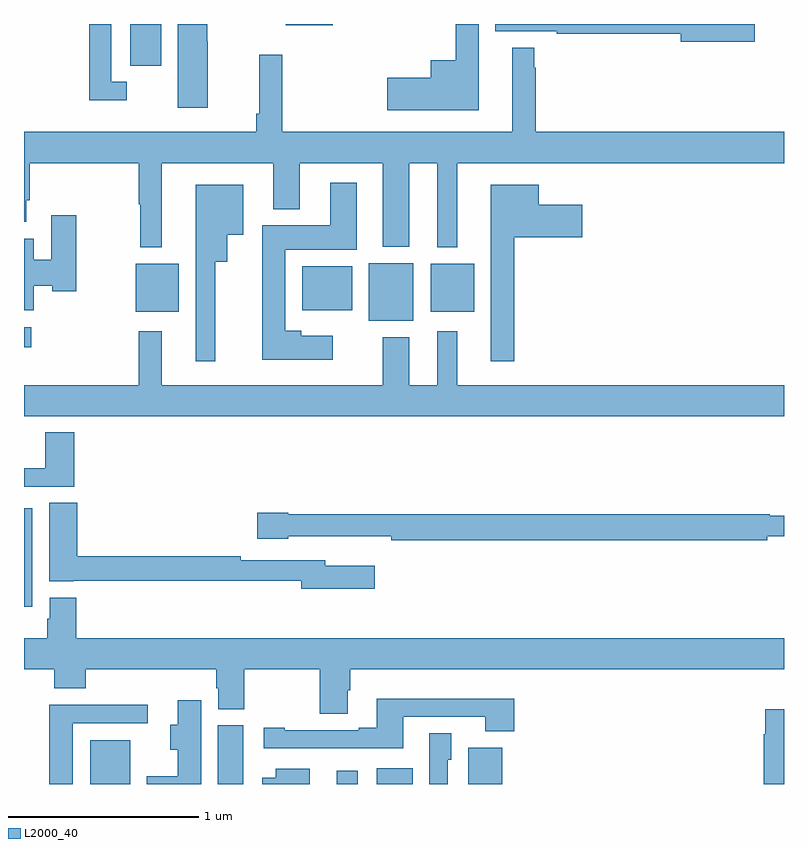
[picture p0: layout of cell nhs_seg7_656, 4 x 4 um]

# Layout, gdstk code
import gdstk
lib = gdstk.Library(unit=1e-6, precision=1e-09)
def R(c, l, rs):  # rectangles x0, y0, x1, y1
    for r in rs: c.add(gdstk.rectangle(r[:2], r[2:], *l))
def P(c, l, *ps):  # polygons
    for p in ps: c.add(gdstk.Polygon(p, *l))
L2000_40 = (2000, 40)

nhs_seg7_656 = lib.new_cell('nhs_seg7_656')
R(nhs_seg7_656, L2000_40, [(161.348,1012,161.56,1012.231), (162.02,1012,162.154,1012.308), (162.647,1012,162.757,1012.069), (162.857,1012,163.045,1012.084), (163.337,1012,163.516,1012.192), (161,1012.932,161.044,1013.452), (161,1014.299,161.038,1014.403), (162.815,1014.437,163.048,1014.742), (161.588,1014.485,161.815,1014.739), (163.142,1014.485,163.369,1014.739), (162.464,1014.494,162.727,1014.724), (161.558,1015.779,161.722,1016), (162.378,1015.994,162.625,1016)])
P(nhs_seg7_656, L2000_40, [(163.393,1016),(163.272,1016),(163.272,1015.81),(163.142,1015.81),(163.142,1015.718),(162.912,1015.718),(162.912,1015.547),(163.393,1015.547)],
  [(161.542,1015.695),(161.46,1015.695),(161.46,1016),(161.344,1016),(161.344,1015.598),(161.542,1015.598)],
  [(161.968,1015.908),(161.965,1015.908),(161.965,1016),(161.81,1016),(161.81,1015.56),(161.968,1015.56)],
  [(164.845,1016),(163.481,1016),(163.481,1015.961),(163.804,1015.961),(163.804,1015.948),(164.456,1015.948),(164.456,1015.906),(164.845,1015.906)],
  [(161.725,1015.268),(162.311,1015.268),(162.311,1015.025),(162.451,1015.025),(162.451,1015.268),(162.887,1015.268),(162.887,1014.827),(163.027,1014.827),(163.027,1015.268),(163.175,1015.268),(163.175,1014.824),(163.279,1014.824),(163.279,1015.268),(165,1015.268),(165,1015.432),(163.693,1015.432),(163.693,1015.769),(163.686,1015.769),(163.686,1015.876),(163.571,1015.876),(163.571,1015.432),(162.359,1015.432),(162.359,1015.837),(162.238,1015.837),(162.238,1015.528),(162.223,1015.528),(162.223,1015.432),(161,1015.432),(161,1014.96),(161.011,1014.96),(161.011,1015.072),(161.03,1015.072),(161.03,1015.268),(161.604,1015.268),(161.604,1015.052),(161.611,1015.052),(161.611,1014.824),(161.725,1014.824)],
  [(162.625,1014.358),(162.459,1014.358),(162.459,1014.385),(162.376,1014.385),(162.376,1014.812),(162.751,1014.812),(162.751,1015.165),(162.611,1015.165),(162.611,1014.94),(162.254,1014.94),(162.254,1014.233),(162.625,1014.233)],
  [(162.007,1014.749),(162.07,1014.749),(162.07,1014.89),(162.154,1014.89),(162.154,1015.153),(161.903,1015.153),(161.903,1014.225),(162.007,1014.225)],
  [(163.579,1014.878),(163.939,1014.878),(163.939,1015.048),(163.708,1015.048),(163.708,1015.153),(163.457,1015.153),(163.457,1014.225),(163.579,1014.225)],
  [(161.05,1014.623),(161.148,1014.623),(161.148,1014.593),(161.274,1014.593),(161.274,1014.994),(161.144,1014.994),(161.144,1014.758),(161.05,1014.758),(161.05,1014.871),(161,1014.871),(161,1014.494),(161.05,1014.494)],
  [(165,1014.1),(163.279,1014.1),(163.279,1014.382),(163.175,1014.382),(163.175,1014.1),(163.027,1014.1),(163.027,1014.352),(162.887,1014.352),(162.887,1014.1),(161.725,1014.1),(161.725,1014.382),(161.604,1014.382),(161.604,1014.1),(161,1014.1),(161,1013.936),(165,1013.936)],
  [(161.264,1013.851),(161.111,1013.851),(161.111,1013.661),(161,1013.661),(161,1013.565),(161.264,1013.565)],
  [(162.847,1013.149),(162.586,1013.149),(162.586,1013.178),(162.14,1013.178),(162.14,1013.198),(161.279,1013.198),(161.279,1013.48),(161.132,1013.48),(161.132,1013.066),(161.262,1013.066),(161.262,1013.07),(162.458,1013.07),(162.458,1013.027),(162.847,1013.027)],
  [(164.912,1013.303),(165,1013.303),(165,1013.413),(164.926,1013.413),(164.926,1013.42),(162.39,1013.42),(162.39,1013.428),(162.228,1013.428),(162.228,1013.291),(162.39,1013.291),(162.39,1013.304),(162.682,1013.304),(162.682,1013.303),(162.934,1013.303),(162.934,1013.284),(164.912,1013.284)],
  [(161.159,1012.505),(161.324,1012.505),(161.324,1012.604),(162.011,1012.604),(162.011,1012.503),(162.023,1012.503),(162.023,1012.393),(162.159,1012.393),(162.159,1012.604),(162.556,1012.604),(162.556,1012.369),(162.703,1012.369),(162.703,1012.493),(162.716,1012.493),(162.716,1012.604),(165,1012.604),(165,1012.768),(161.276,1012.768),(161.276,1012.981),(161.135,1012.981),(161.135,1012.869),(161.123,1012.869),(161.123,1012.768),(161,1012.768),(161,1012.604),(161.159,1012.604)],
  [(162.997,1012.353),(163.427,1012.353),(163.427,1012.277),(163.58,1012.277),(163.58,1012.45),(162.857,1012.45),(162.857,1012.297),(162.761,1012.297),(162.761,1012.284),(162.373,1012.284),(162.373,1012.297),(162.261,1012.297),(162.261,1012.188),(162.997,1012.188)],
  [(161.932,1012.441),(161.81,1012.441),(161.81,1012.311),(161.771,1012.311),(161.771,1012.181),(161.81,1012.181),(161.81,1012.042),(161.645,1012.042),(161.645,1012),(161.932,1012)],
  [(161.257,1012.32),(161.65,1012.32),(161.65,1012.418),(161.132,1012.418),(161.132,1012),(161.257,1012)],
  [(165,1012.393),(164.9,1012.393),(164.9,1012.263),(164.893,1012.263),(164.893,1012),(165,1012)],
  [(163.23,1012.128),(163.249,1012.128),(163.249,1012.268),(163.134,1012.268),(163.134,1012),(163.23,1012)],
  [(162.505,1012.081),(162.326,1012.081),(162.326,1012.033),(162.254,1012.033),(162.254,1012),(162.505,1012)])

lib.write_gds('nhs_seg7_656.gds')
